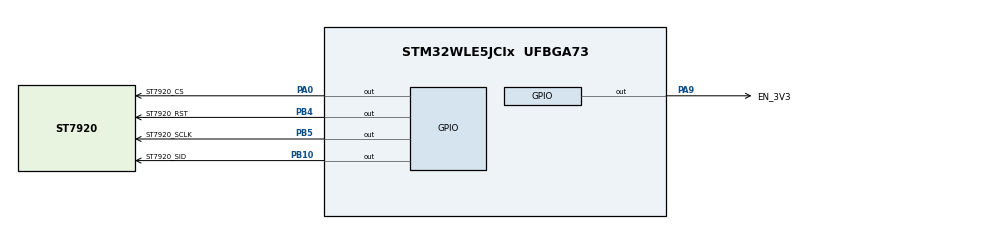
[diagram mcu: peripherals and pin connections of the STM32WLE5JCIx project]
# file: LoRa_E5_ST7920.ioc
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Mcu.Family=STM32WL
Mcu.Name=STM32WLE5JCIx
Mcu.Package=UFBGA73
NVIC.PriorityGroup=NVIC_PRIORITYGROUP_4
PA0.GPIO_Label=ST7920_CS
PA0.GPIO_Speed=GPIO_SPEED_FREQ_HIGH
PA0.PinState=GPIO_PIN_SET
PA0.Signal=GPIO_Output
PA9.GPIO_Label=EN_3V3
PA9.Signal=GPIO_Output
PB10.GPIO_Label=ST7920_SID
PB10.GPIO_Speed=GPIO_SPEED_FREQ_HIGH
PB10.PinState=GPIO_PIN_SET
PB10.Signal=GPIO_Output
PB4.GPIO_Label=ST7920_RST
PB4.GPIO_Speed=GPIO_SPEED_FREQ_HIGH
PB4.PinState=GPIO_PIN_SET
PB4.Signal=GPIO_Output
PB5.GPIO_Label=ST7920_SCLK
PB5.GPIO_Speed=GPIO_SPEED_FREQ_HIGH
PB5.PinState=GPIO_PIN_SET
PB5.Signal=GPIO_Output
PC14-OSC32_IN.Mode=LSE-External-Oscillator
PC14-OSC32_IN.Signal=RCC_OSC32_IN
PC15-OSC32_OUT.Mode=LSE-External-Oscillator
PC15-OSC32_OUT.Signal=RCC_OSC32_OUT
ProjectManager.HeapSize=0x200
ProjectManager.StackSize=0x400
ProjectManager.TargetToolchain=STM32CubeIDE
RCC.AHBFreq_Value=48000000
RCC.APB1Freq_Value=48000000
RCC.APB1TimFreq_Value=48000000
RCC.APB2Freq_Value=48000000
RCC.APB2TimFreq_Value=48000000
RCC.APB3Freq_Value=48000000
RCC.CortexFreq_Value=48000000
RCC.HCLKFreq_Value=48000000
RCC.HSE_VALUE=8000000
RCC.HSI_VALUE=16000000
RCC.LSE_VALUE=32768
RCC.MSIClockRange=RCC_MSIRANGE_11
RCC.PLLN=12
RCC.PLLSourceVirtual=RCC_PLLSOURCE_HSI
RCC.SYSCLKFreq_VALUE=48000000
RCC.VCOOutputFreq_Value=192000000
TIM1.Period=0xffff-1
TIM1.Prescaler=48-1
VP_TIM1_VS_ClockSourceINT.Mode=Internal
board=custom

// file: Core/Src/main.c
/* USER CODE BEGIN Header */
/**
  ******************************************************************************
  * @file           : main.c
  * @brief          : Main program body
  ******************************************************************************
  * @attention
  *
  * <h2><center>&copy; Copyright (c) 2021 STMicroelectronics.
  * All rights reserved.</center></h2>
  *
  * This software component is licensed by ST under BSD 3-Clause license,
  * the "License"; You may not use this file except in compliance with the
  * License. You may obtain a copy of the License at:
  *                        opensource.org/licenses/BSD-3-Clause
  *
  ******************************************************************************
  */
/* USER CODE END Header */
#include "main.h"
#include "tim.h"
#include "gpio.h"

/* USER CODE BEGIN Includes */
#include "ST7920_SERIAL.h"
#include "delay.h"
#include "bitmap.h"
#include "u8g2.h"
#include "icons.h"
/* USER CODE END Includes */

/* USER CODE BEGIN PV */
static u8g2_t u8g2;

/* USER CODE END PV */

void SystemClock_Config(void);
/* USER CODE BEGIN PFP */
uint8_t u8g2_gpio_and_delay_stm32(U8X8_UNUSED u8x8_t *u8x8, U8X8_UNUSED uint8_t msg, U8X8_UNUSED uint8_t arg_int, U8X8_UNUSED void *arg_ptr);
/* USER CODE END PFP */

int main(void)
{

  /* MCU Configuration--------------------------------------------------------*/

  /* Reset of all peripherals, Initializes the Flash interface and the Systick. */
  HAL_Init();

  /* Configure the system clock */
  SystemClock_Config();

  /* Initialize all configured peripherals */
  MX_GPIO_Init();
  MX_TIM1_Init();
  /* USER CODE BEGIN 2 */

  //Enable 3V3 For Sensor
  HAL_GPIO_WritePin(EN_3V3_GPIO_Port, EN_3V3_Pin, GPIO_PIN_SET);
  HAL_Delay(500);

  //
  u8g2_Setup_st7920_s_128x64_f(&u8g2, U8G2_R0, u8x8_byte_4wire_sw_spi, u8g2_gpio_and_delay_stm32); // init u8g2 structure
  u8g2_InitDisplay(&u8g2);
  u8g2_SetPowerSave(&u8g2, 0); // wake up display

  u8g2_ClearBuffer(&u8g2);
  u8g2_SetFont(&u8g2, u8g2_font_6x12_tr);
  /* USER CODE END 2 */

  /* Infinite loop */
  /* USER CODE BEGIN WHILE */
  while (1)
  {
	  u8g2_ClearBuffer(&u8g2);
	  u8g2_DrawXBM(&u8g2, 34, 2, 60, 60, hourglass_full);
	  u8g2_SendBuffer(&u8g2);
	  HAL_Delay(1000);

	  u8g2_ClearBuffer(&u8g2);
	  u8g2_DrawXBM(&u8g2, 34, 2, 60, 60, hourglass_half);
	  u8g2_SendBuffer(&u8g2);
	  HAL_Delay(1000);

	  u8g2_ClearBuffer(&u8g2);
	  u8g2_DrawXBM(&u8g2, 34, 2, 60, 60, hourglass_empty);
	  u8g2_SendBuffer(&u8g2);
	  HAL_Delay(1000);

	  // set font and write hello world
	  u8g2_ClearBuffer(&u8g2);
	  u8g2_SetFont(&u8g2, u8g2_font_6x12_tr);
	  u8g2_DrawStr(&u8g2, 2,17,"Hello World!");
	  u8g2_SendBuffer(&u8g2);
	  HAL_Delay(5000);

    /* USER CODE END WHILE */

  }
}

void SystemClock_Config(void)
{
  RCC_OscInitTypeDef RCC_OscInitStruct = {0};
  RCC_ClkInitTypeDef RCC_ClkInitStruct = {0};

  /** Configure LSE Drive Capability
  */
  HAL_PWR_EnableBkUpAccess();
  __HAL_RCC_LSEDRIVE_CONFIG(RCC_LSEDRIVE_LOW);
  /** Configure the main internal regulator output voltage
  */
  __HAL_PWR_VOLTAGESCALING_CONFIG(PWR_REGULATOR_VOLTAGE_SCALE1);
  /** Initializes the CPU, AHB and APB busses clocks
  */
  RCC_OscInitStruct.OscillatorType = RCC_OSCILLATORTYPE_LSE|RCC_OSCILLATORTYPE_MSI;
  RCC_OscInitStruct.LSEState = RCC_LSE_ON;
  RCC_OscInitStruct.MSIState = RCC_MSI_ON;
  RCC_OscInitStruct.MSICalibrationValue = RCC_MSICALIBRATION_DEFAULT;
  RCC_OscInitStruct.MSIClockRange = RCC_MSIRANGE_11;
  RCC_OscInitStruct.PLL.PLLState = RCC_PLL_NONE;
  if (HAL_RCC_OscConfig(&RCC_OscInitStruct) != HAL_OK)
  {
    Error_Handler();
  }
  /** Configure the SYSCLKSource, HCLK, PCLK1 and PCLK2 clocks dividers
  */
  RCC_ClkInitStruct.ClockType = RCC_CLOCKTYPE_HCLK3|RCC_CLOCKTYPE_HCLK
                              |RCC_CLOCKTYPE_SYSCLK|RCC_CLOCKTYPE_PCLK1
                              |RCC_CLOCKTYPE_PCLK2;
  RCC_ClkInitStruct.SYSCLKSource = RCC_SYSCLKSOURCE_MSI;
  RCC_ClkInitStruct.AHBCLKDivider = RCC_SYSCLK_DIV1;
  RCC_ClkInitStruct.APB1CLKDivider = RCC_HCLK_DIV1;
  RCC_ClkInitStruct.APB2CLKDivider = RCC_HCLK_DIV1;
  RCC_ClkInitStruct.AHBCLK3Divider = RCC_SYSCLK_DIV1;

  if (HAL_RCC_ClockConfig(&RCC_ClkInitStruct, FLASH_LATENCY_2) != HAL_OK)
  {
    Error_Handler();
  }
}

/* USER CODE BEGIN 4 */
uint8_t u8g2_gpio_and_delay_stm32(U8X8_UNUSED u8x8_t *u8x8, U8X8_UNUSED uint8_t msg, U8X8_UNUSED uint8_t arg_int, U8X8_UNUSED void *arg_ptr)
{
		switch(msg){

		//Function which implements a delay, arg_int contains the amount of ms
		case U8X8_MSG_GPIO_AND_DELAY_INIT:
			MX_GPIO_Init();
		break;
		//Function which implements a delay, arg_int contains the amount of ms
		case U8X8_MSG_DELAY_MILLI:
		HAL_Delay(arg_int);
		break;
		//Function which delays 10us
		case U8X8_MSG_DELAY_10MICRO:
		delay_us(10);
		break;
		//Function which delays 100ns
		case U8X8_MSG_DELAY_100NANO:
		__NOP();

		break;
		//Function to define the logic level of the clockline
		case U8X8_MSG_GPIO_SPI_CLOCK:
			if (arg_int) ST7920_SCLK_1;
			else ST7920_SCLK_0;

		break;
		//Function to define the logic level of the data line to the display
		case U8X8_MSG_GPIO_SPI_DATA:
			if (arg_int) ST7920_SID_1;
			else ST7920_SID_0;

		break;

		// Function to define the logic level of the CS line
		case U8X8_MSG_GPIO_CS1:
			if (arg_int) ST7920_CS_1	;
			else ST7920_CS_0;

		break;
		//Function to define the logic level of the Data/ Command line
		case U8X8_MSG_GPIO_DC:

		break;
		//Function to define the logic level of the RESET line
		case U8X8_MSG_GPIO_RESET:
			if (arg_int) ST7920_RST_1;
			else ST7920_RST_0;

		break;

		default:
			return 0; //A message was received which is not implemented, return 0 to indicate an error
	}

	return 1; // command processed successfully.
}
/* USER CODE END 4 */

void Error_Handler(void)
{
  __disable_irq();
  while (1)
  {
  }
}
